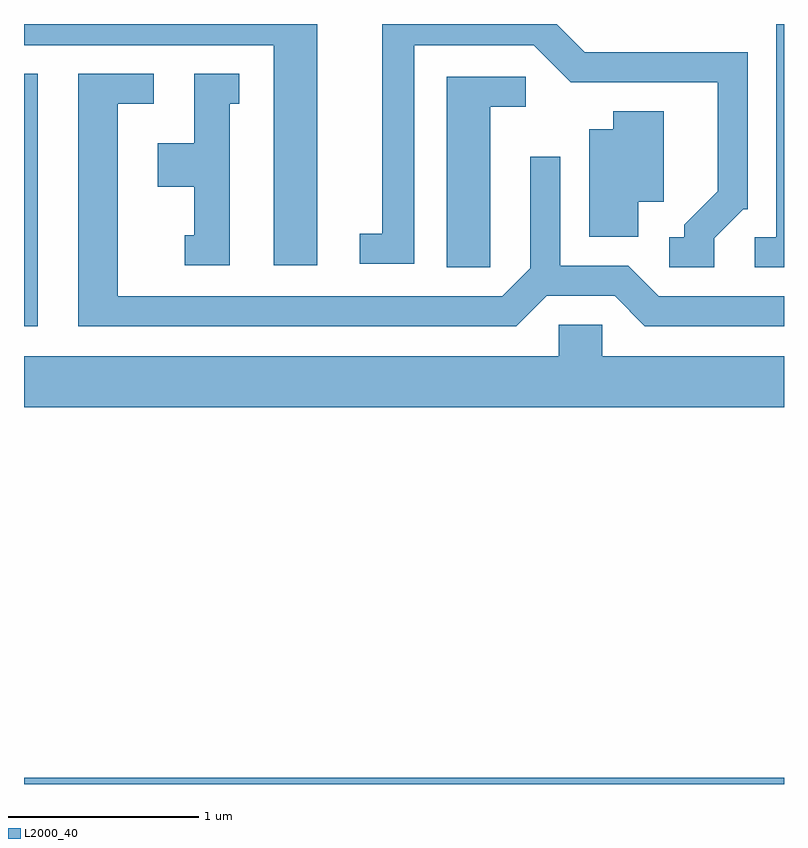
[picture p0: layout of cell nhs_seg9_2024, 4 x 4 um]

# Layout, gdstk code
import gdstk
lib = gdstk.Library(unit=1e-6, precision=1e-09)
def R(c, l, rs):  # rectangles x0, y0, x1, y1
    for r in rs: c.add(gdstk.rectangle(r[:2], r[2:], *l))
def P(c, l, *ps):  # polygons
    for p in ps: c.add(gdstk.Polygon(p, *l))
L2000_40 = (2000, 40)

nhs_seg9_2024 = lib.new_cell('nhs_seg9_2024')
R(nhs_seg9_2024, L2000_40, [(243.611,2056.432,247.611,2056.464), (243.611,2058.841,243.684,2060.169)])
P(nhs_seg9_2024, L2000_40, [(247.244,2059.304),(247.397,2059.456),(247.419,2059.456),(247.419,2060.284),(246.562,2060.284),(246.414,2060.432),(245.496,2060.432),(245.496,2059.329),(245.378,2059.329),(245.378,2059.171),(245.664,2059.171),(245.664,2060.321),(246.294,2060.321),(246.489,2060.126),(247.261,2060.126),(247.261,2059.552),(247.086,2059.376),(247.086,2059.309),(247.008,2059.309),(247.008,2059.151),(247.244,2059.151)],
  [(245.154,2060.432),(243.611,2060.432),(243.611,2060.321),(244.926,2060.321),(244.926,2059.161),(245.154,2059.161)],
  [(247.611,2060.432),(247.571,2060.432),(247.571,2059.309),(247.458,2059.309),(247.458,2059.151),(247.611,2059.151)],
  [(244.694,2060.011),(244.743,2060.011),(244.743,2060.169),(244.506,2060.169),(244.506,2059.804),(244.316,2059.804),(244.316,2059.576),(244.506,2059.576),(244.506,2059.319),(244.458,2059.319),(244.458,2059.161),(244.694,2059.161)],
  [(246.362,2059.001),(246.719,2059.001),(246.879,2058.841),(247.611,2058.841),(247.611,2058.999),(246.952,2058.999),(246.792,2059.159),(246.434,2059.159),(246.434,2059.733),(246.276,2059.733),(246.276,2059.146),(246.129,2058.999),(244.104,2058.999),(244.104,2060.011),(244.293,2060.011),(244.293,2060.169),(243.896,2060.169),(243.896,2058.841),(246.202,2058.841)],
  [(246.064,2059.996),(246.253,2059.996),(246.253,2060.154),(245.836,2060.154),(245.836,2059.151),(246.064,2059.151)],
  [(246.844,2059.496),(246.979,2059.496),(246.979,2059.974),(246.711,2059.974),(246.711,2059.879),(246.586,2059.879),(246.586,2059.311),(246.844,2059.311)],
  [(247.611,2058.684),(246.654,2058.684),(246.654,2058.849),(246.426,2058.849),(246.426,2058.684),(243.611,2058.684),(243.611,2058.416),(247.611,2058.416)])

lib.write_gds('nhs_seg9_2024.gds')
